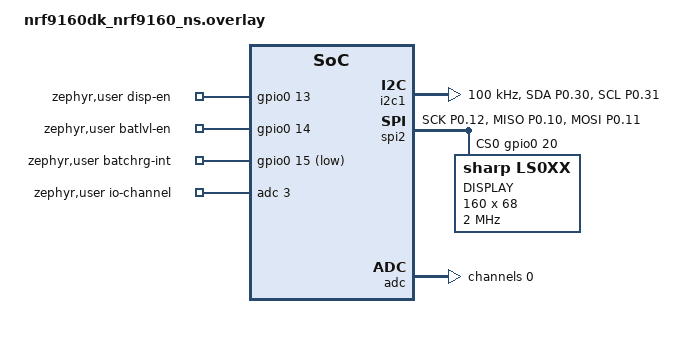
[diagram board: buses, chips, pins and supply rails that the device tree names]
// To get started, press Ctrl+Space to bring up the completion menu and view the available nodes.

// You can also use the buttons in the sidebar to perform actions on nodes.
// Actions currently available include:

// * Enabling / disabling the node
// * Adding the bus to a bus
// * Removing the node
// * Connecting ADC channels

// For more help, browse the DeviceTree documentation at https://docs.zephyrproject.org/latest/guides/dts/index.html
// You can also visit the nRF DeviceTree extension documentation at https://nrfconnect.github.io/vscode-nrf-connect/devicetree/nrfdevicetree.html

///{
//    rtc0: rtc@14000 {
//        compatible = "nordic,nrf-rtc";
//        reg = <0x14000 0x1000>;
//        cc-num = <4>;
//        interrupts = <20 NRF_DEFAULT_IRQ_PRIORITY>;
//        status = "okay";
//        clock-frequency = <32768>;
//        prescaler = <1>;
//    };
//};

// I2C Configuration

&pinctrl {
    /* configuration for i2c1 device, default state */
	i2c1_default: i2c1_default {
		group1 {
			psels = <NRF_PSEL(TWIM_SDA, 0, 30)>,
				<NRF_PSEL(TWIM_SCL, 0, 31)>;
		};
	};

	i2c1_sleep: i2c1_sleep {
		group1 {
			psels = <NRF_PSEL(TWIM_SDA, 0, 30)>,
				<NRF_PSEL(TWIM_SCL, 0, 31)>;
			low-power-enable;
		};
	};

	spi2_default: spi2_default {
		group1 {
			psels = <NRF_PSEL(SPIM_SCK, 0, 12)>,
					<NRF_PSEL(SPIM_MISO, 0, 10)>,
					<NRF_PSEL(SPIM_MOSI, 0, 11)>;
		};
	};

	spi2_sleep: spi2_sleep {
		group1 {
			psels = <NRF_PSEL(SPIM_SCK, 0, 12)>,
					<NRF_PSEL(SPIM_MISO, 0, 10)>,
					<NRF_PSEL(SPIM_MOSI, 0, 11)>;
			low-power-enable;
		};
	};

};

&i2c1 {
    compatible = "nordic,nrf-twim";
	status = "okay";
    pinctrl-0 = <&i2c1_default>;
    /* sleep state (only applicable if CONFIG_PM_DEVICE=y) */
    pinctrl-1 = <&i2c1_sleep>;
    /* state assigned to each pinctrl-N property by index */
    pinctrl-names = "default", "sleep";
    clock-frequency = <I2C_BITRATE_STANDARD>;
};

&i2c2 {
    status = "disabled";
};

&spi3 {
    status = "disabled";
};


&spi2 {
	compatible = "nordic,nrf-spim";
	status = "okay";
    cs-gpios = <&gpio0 20 GPIO_ACTIVE_HIGH>;
	pinctrl-0 = <&spi2_default>;
	pinctrl-1 = <&spi2_sleep>;
	pinctrl-names = "default", "sleep";
	ls0xx: ls0xx@0 {
		compatible = "sharp,ls0xx";
		label = "DISPLAY";
		spi-max-frequency = <2000000>;
		width = <160>;
		height = <68>;
		reg = <0>;
	};
};

/ {
	chosen {
		zephyr,display = &ls0xx;
	};
};

// ADC

/ {
	zephyr,user {
		io-channels = <&adc 3>; // P0.16 = AIN3
		disp-en-gpios = <&gpio0 13 GPIO_ACTIVE_HIGH>;
		batlvl-en-gpios = <&gpio0 14 GPIO_ACTIVE_HIGH>;
		batchrg-int-gpios = <&gpio0 15 GPIO_ACTIVE_LOW>;
	 };
};

&adc {
	#address-cells = <1>;
	#size-cells = <0>;

	channel@0 {
		reg = <0>;
		zephyr,gain = "ADC_GAIN_1_5";
		zephyr,reference = "ADC_REF_INTERNAL";
		zephyr,acquisition-time = <ADC_ACQ_TIME_DEFAULT>;
		zephyr,input-positive = <NRF_SAADC_AIN3>;  // P0.16 = AIN3
		zephyr,resolution = <12>;
	};
};


/ {

};

//BAT_CHRG_NINT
